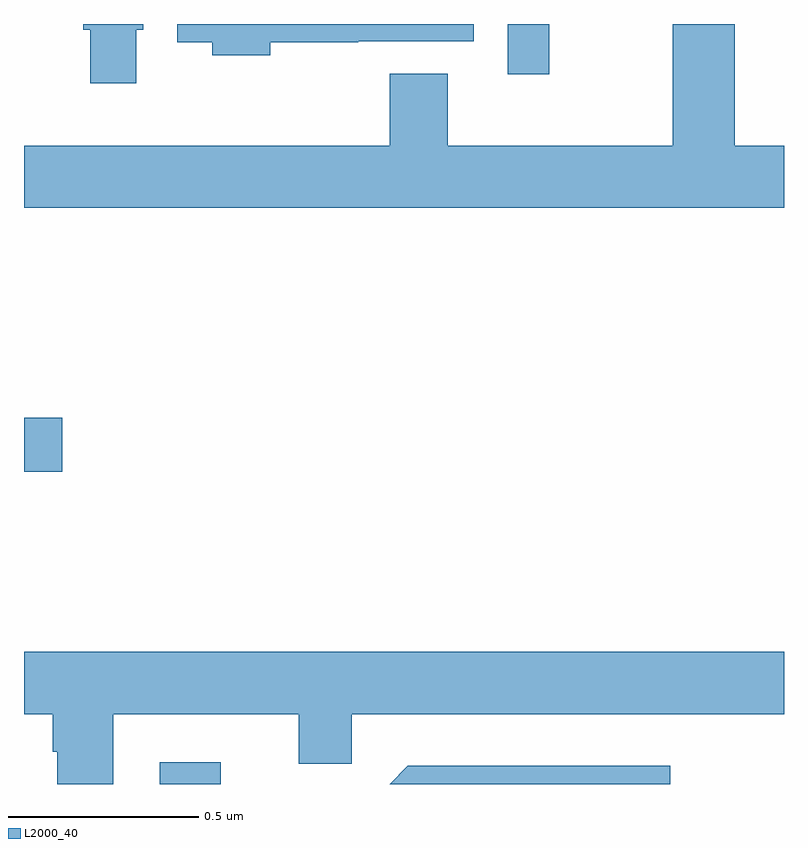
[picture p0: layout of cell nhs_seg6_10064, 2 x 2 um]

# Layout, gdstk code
import gdstk
lib = gdstk.Library(unit=1e-6, precision=1e-09)
def R(c, l, rs):  # rectangles x0, y0, x1, y1
    for r in rs: c.add(gdstk.rectangle(r[:2], r[2:], *l))
def P(c, l, *ps):  # polygons
    for p in ps: c.add(gdstk.Polygon(p, *l))
L2000_40 = (2000, 40)

nhs_seg6_10064 = lib.new_cell('nhs_seg6_10064')
R(nhs_seg6_10064, L2000_40, [(242.357,932.5,242.518,932.557), (242,933.322,242.101,933.464), (243.273,934.368,243.382,934.5)])
P(nhs_seg6_10064, L2000_40, [(244,934.18),(243.871,934.18),(243.871,934.5),(243.707,934.5),(243.707,934.18),(243.115,934.18),(243.115,934.369),(242.963,934.369),(242.963,934.18),(242,934.18),(242,934.016),(244,934.016)],
  [(242.648,934.452),(242.879,934.452),(242.879,934.454),(243.183,934.454),(243.183,934.5),(242.403,934.5),(242.403,934.452),(242.495,934.452),(242.495,934.418),(242.648,934.418)],
  [(242.296,934.485),(242.314,934.485),(242.314,934.5),(242.156,934.5),(242.156,934.485),(242.174,934.485),(242.174,934.344),(242.296,934.344)],
  [(242.235,932.684),(242.723,932.684),(242.723,932.553),(242.862,932.553),(242.862,932.684),(244,932.684),(244,932.848),(242,932.848),(242,932.684),(242.075,932.684),(242.075,932.585),(242.087,932.585),(242.087,932.5),(242.235,932.5)],
  [(243.7,932.548),(243.01,932.548),(242.962,932.5),(243.7,932.5)])

lib.write_gds('nhs_seg6_10064.gds')
